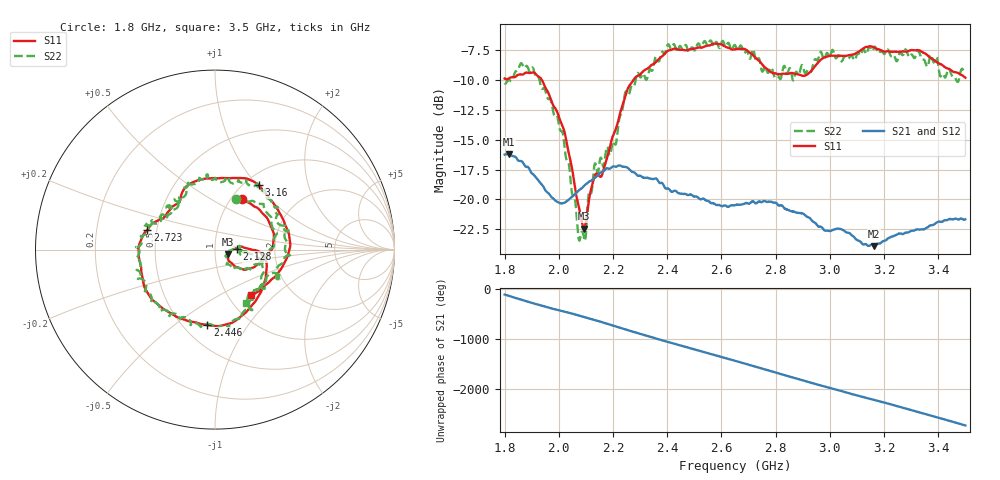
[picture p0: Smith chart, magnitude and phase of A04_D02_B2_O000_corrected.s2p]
! Created with skrf 1.9.0 (http://scikit-rf.org).
# Hz S RI R 50.0
!freq ReS11 ImS11 ReS21 ImS21 ReS12 ImS12 ReS22 ImS22
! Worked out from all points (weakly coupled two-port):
!   1601 points, 1.8 GHz to 3.5 GHz, reference 50 ohm
!   highest |S21| = -16.21 dB at 1.817 GHz (marker M1); lowest = -23.9 dB at 3.163 GHz (marker M2)
!   lowest |S11| = -22.4 dB at 2.093 GHz (marker M3), VSWR 1.16, Z = 57.7 - j2.74 ohm
!   |S11| at or under -10 dB: 1.937 GHz to 2.276 GHz (338.9 MHz wide, 16.1 % of centre)
!   |S22| runs from -23.5 to -6.7 dB; largest |S21 - S12| = 0.0025
!   S11 on the Smith chart (normalised r, x): 1.8 GHz: 1.12, +0.70; 2.128 GHz: 1.28, +0.01; 2.446 GHz: 0.65, -0.66; 2.723 GHz: 0.44, +0.12; 3.16 GHz: 1.15, +1.02; 3.5 GHz: 1.27, -0.72
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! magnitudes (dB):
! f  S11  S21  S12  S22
! 1.8 GHz  -9.9  -16.3  -16.2  -10.3
! 1.817 GHz  -9.9  -16.2  -16.2  -10.0
! 1.902 GHz  -9.4  -17.8  -17.8  -9.0
! 1.969 GHz  -11.5  -19.7  -19.7  -11.6
! 2.021 GHz  -14.4  -20.3  -20.3  -15.5
! 2.072 GHz  -20.4  -19.3  -19.3  -23.1
! 2.084 GHz  -21.7  -19.1  -19.0  -22.7
! 2.093 GHz  -22.4  -18.9  -18.9  -23.2
! 2.128 GHz  -18.3  -18.3  -18.3  -17.7
! 2.161 GHz  -17.8  -17.7  -17.6  -17.1
! 2.208 GHz  -14.2  -17.3  -17.2  -15.4
! 2.259 GHz  -10.5  -17.5  -17.5  -11.2
! 2.367 GHz  -8.3  -18.5  -18.4  -8.5
! 2.446 GHz  -7.5  -19.5  -19.5  -7.2
! 2.65 GHz  -7.5  -20.5  -20.4  -7.1
! 2.723 GHz  -8.1  -20.3  -20.2  -8.0
! 2.81 GHz  -9.5  -20.5  -20.4  -9.7
! 2.934 GHz  -9.2  -21.8  -21.7  -9.2
! 3.16 GHz  -7.2  -23.9  -23.8  -7.5
! 3.163 GHz  -7.3  -23.9  -23.8  -7.3
! 3.217 GHz  -7.6  -23.2  -23.2  -7.6
! 3.5 GHz  -9.8  -21.7  -21.6  -9.2
